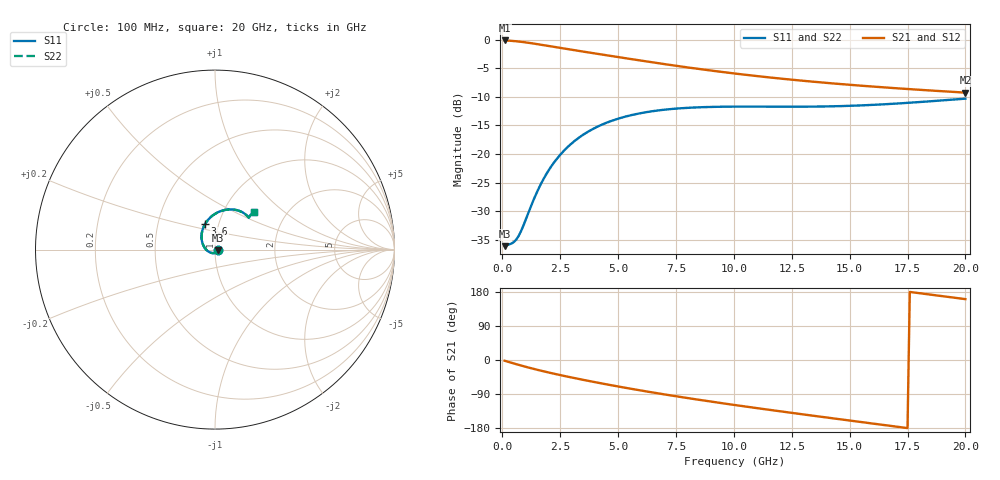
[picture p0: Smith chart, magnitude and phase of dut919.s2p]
! Touchstone file exported from HFSS 2024.1.0
!  File:  C:/UserFiles/LocalFiles/RDL_TSV_Batchsim/temp_RDL_TSV_919_1779957703.aedt
!  Generated:  04:56:12 PM May 28, 2026
!  Design:  RDL_TSV
!  Project:  temp_RDL_TSV_919_1779957703
!  Setup:  Setup1
!  Solution:  Sweep
! Variables:
!  dtsv = 13.75um
!  hbump = 3um
!  htsv = 76.9um
!  ldown = 528.92um
!  lrdl = 263.44um
!  p = 40
!  p1 = 48.92um
!  rhole = 10um
!  subl = 2640.52um
!  t = 450um
!  tdown = 2.38um
!  trdl = 4.16um
!  viad = 10um
!  wdown = 28.19um
!  wrdl = 12.83um
!  xbump = 18um
# GHz S MA R 50.000000
! Terminal data exported
! Port[1] = TM1_1_T1
! Port[2] = TM1_4_T1
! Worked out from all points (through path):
!   200 points, 100 MHz to 20 GHz, reference 50 ohm
!   highest |S21| = -0.14 dB at 100 MHz (marker M1); lowest = -9.3 dB at 20 GHz (marker M2)
!   group delay of S21, straight-line fit = 26.1 ps
!   lowest |S11| = -36.1 dB at 100 MHz (marker M3), VSWR 1.03, Z = 51.6 - j0.31 ohm
!   |S11| at or under -10 dB: start of sweep to end of sweep
!   |S22| runs from -36.1 to -10.3 dB; largest |S21 - S12| = 1.4e-14
!   S11 on the Smith chart (normalised r, x): 100 MHz: 1.03, -0.01; 3.6 GHz: 0.86, +0.25; 20 GHz: 1.39, +0.65
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0.1  0.0157 -11.0  0.9837 -1.9  0.9837 -1.9  0.0157 -11.0
! Gamma 0 0 0 0
! Port Impedance 50 0 50 0
0.5  0.01706 -65.9  0.9724 -9.2  0.9724 -9.2  0.01706 -65.8
0.7  0.01919 -95.9  0.9634 -12.7  0.9634 -12.7  0.01919 -95.9
0.9  0.02342 -122.9  0.9527 -16.1  0.9527 -16.1  0.02341 -122.9
1.2  0.03349 -154.1  0.9344 -21.0  0.9344 -21.0  0.03346 -154.0
1.7  0.05647 172.2  0.9009 -28.7  0.9009 -28.7  0.05642 172.3
2.1  0.07734 153.9  0.8736 -34.4  0.8736 -34.4  0.07726 153.9
2.5  0.09859 139.6  0.8472 -39.8  0.8472 -39.8  0.09848 139.6
3  0.1243 125.2  0.8157 -46.3  0.8157 -46.3  0.1241 125.2
3.5  0.148 113.4  0.7859 -52.5  0.7859 -52.5  0.1478 113.4
3.6  0.1525 111.3  0.7801 -53.7  0.7801 -53.7  0.1523 111.3
4.3  0.1808 98.3  0.7411 -61.9  0.7411 -61.9  0.1806 98.3
5  0.2039 87.7  0.7043 -69.9  0.7043 -69.9  0.2036 87.7
5.8  0.2242 77.8  0.665 -78.5  0.665 -78.5  0.2239 77.8
6.8  0.2417 68.0  0.62 -88.8  0.62 -88.8  0.2414 67.9
8.4  0.256 56.6  0.5577 -104.1  0.5577 -104.1  0.2556 56.5
10.1  0.2599 49.0  0.5041 -119.3  0.5041 -119.3  0.2595 49.0
11.7  0.2596 45.2  0.4638 -132.9  0.4638 -132.9  0.2591 45.1
13.4  0.2599 43.6  0.4295 -146.9  0.4295 -146.9  0.2594 43.5
15  0.2641 43.6  0.4032 -159.8  0.4032 -159.8  0.2635 43.5
16.7  0.2739 44.1  0.38 -173.3  0.38 -173.3  0.2732 44.0
20  0.3051 44.0  0.3445 160.6  0.3445 160.6  0.3043 44.0
